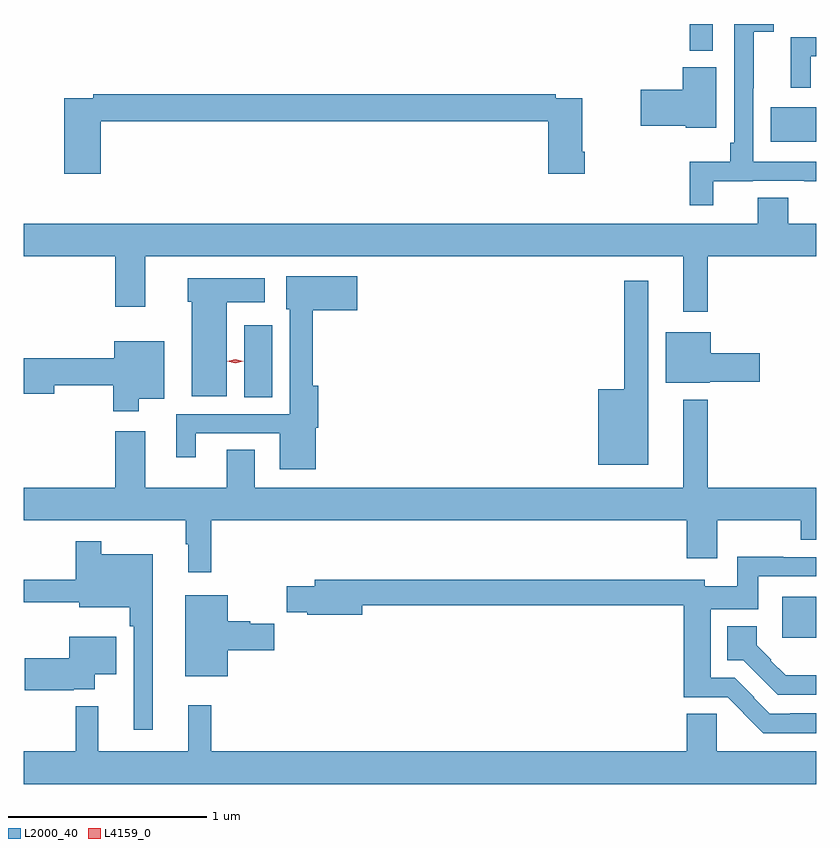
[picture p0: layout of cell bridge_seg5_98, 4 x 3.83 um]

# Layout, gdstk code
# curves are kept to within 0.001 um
import gdstk
lib = gdstk.Library(unit=1e-6, precision=1e-09)
def R(c, l, rs):  # rectangles x0, y0, x1, y1
    for r in rs: c.add(gdstk.rectangle(r[:2], r[2:], *l))
def P(c, l, *ps):  # polygons
    for p in ps: c.add(gdstk.Polygon(p, *l))
L2000_40 = (2000, 40)
L4159_0 = (4159, 0)

bridge_seg5_98 = lib.new_cell('bridge_seg5_98')
R(bridge_seg5_98, L2000_40, [(613.62,910.778,613.792,910.984), (610.904,911.992,611.047,912.355), (613.562,913.28,613.792,913.456), (613.153,913.741,613.269,913.875)])
P(bridge_seg5_98, L2000_40, [(613.272,913.082),(613.47,913.082),(613.47,913.083),(613.732,913.083),(613.732,913.082),(613.792,913.082),(613.792,913.179),(613.473,913.179),(613.473,913.552),(613.475,913.552),(613.475,913.836),(613.576,913.836),(613.576,913.875),(613.377,913.875),(613.377,913.276),(613.357,913.276),(613.357,913.18),(613.153,913.18),(613.153,912.96),(613.272,912.96)],
  [(613.764,913.713),(613.792,913.713),(613.792,913.809),(613.664,913.809),(613.664,913.554),(613.764,913.554)],
  [(613.288,913.656),(613.118,913.656),(613.118,913.544),(612.906,913.544),(612.906,913.361),(613.134,913.361),(613.134,913.352),(613.288,913.352)],
  [(610.181,913.384),(612.44,913.384),(612.44,913.119),(612.623,913.119),(612.623,913.231),(612.61,913.231),(612.61,913.5),(612.476,913.5),(612.476,913.52),(610.144,913.52),(610.144,913.5),(609.998,913.5),(609.998,913.119),(610.181,913.119)],
  [(613.243,912.704),(613.792,912.704),(613.792,912.868),(613.649,912.868),(613.649,912.998),(613.496,912.998),(613.496,912.868),(609.792,912.868),(609.792,912.704),(610.253,912.704),(610.253,912.447),(610.405,912.447),(610.405,912.704),(613.121,912.704),(613.121,912.423),(613.243,912.423)],
  [(611.266,911.838),(611.279,911.838),(611.279,912.049),(611.252,912.049),(611.252,912.431),(611.476,912.431),(611.476,912.601),(611.117,912.601),(611.117,912.435),(611.136,912.435),(611.136,911.907),(610.562,911.907),(610.562,911.688),(610.66,911.688),(610.66,911.811),(611.084,911.811),(611.084,911.627),(611.266,911.627)],
  [(610.816,912.47),(611.008,912.47),(611.008,912.592),(610.619,912.592),(610.619,912.474),(610.64,912.474),(610.64,911.996),(610.816,911.996)],
  [(612.943,912.58),(612.822,912.58),(612.822,912.031),(612.692,912.031),(612.692,911.651),(612.943,911.651)],
  [(613.254,912.071),(613.507,912.071),(613.507,912.213),(613.258,912.213),(613.258,912.319),(613.031,912.319),(613.031,912.065),(613.254,912.065)],
  [(610.372,911.984),(610.501,911.984),(610.501,912.274),(610.25,912.274),(610.25,912.188),(609.792,912.188),(609.792,912.01),(609.946,912.01),(609.946,912.052),(610.243,912.052),(610.243,911.922),(610.372,911.922)],
  [(610.739,911.372),(613.139,911.372),(613.139,911.178),(613.291,911.178),(613.291,911.372),(613.714,911.372),(613.714,911.273),(613.792,911.273),(613.792,911.536),(613.243,911.536),(613.243,911.98),(613.121,911.98),(613.121,911.536),(610.957,911.536),(610.957,911.726),(610.817,911.726),(610.817,911.536),(610.405,911.536),(610.405,911.821),(610.253,911.821),(610.253,911.536),(609.792,911.536),(609.792,911.372),(610.611,911.372),(610.611,911.249),(610.622,911.249),(610.622,911.109),(610.739,911.109)],
  [(610.444,911.2),(610.183,911.2),(610.183,911.266),(610.054,911.266),(610.054,911.071),(609.792,911.071),(609.792,910.957),(610.073,910.957),(610.073,910.931),(610.327,910.931),(610.327,910.835),(610.347,910.835),(610.347,910.314),(610.444,910.314)],
  [(613.792,910.396),(613.557,910.395),(613.476,910.476),(613.478,910.478),(613.381,910.575),(613.258,910.575),(613.258,910.922),(613.498,910.922),(613.498,911.088),(613.792,911.088),(613.792,911.184),(613.625,911.184),(613.625,911.186),(613.394,911.186),(613.394,911.038),(613.23,911.038),(613.23,911.071),(611.261,911.071),(611.261,911.037),(611.119,911.037),(611.119,910.907),(611.224,910.907),(611.224,910.895),(611.5,910.895),(611.5,910.942),(613.124,910.942),(613.124,910.479),(613.344,910.479),(613.425,910.398),(613.423,910.396),(613.524,910.295),(613.792,910.295)],
  [(610.822,910.715),(611.057,910.715),(611.057,910.849),(610.935,910.849),(610.935,910.862),(610.822,910.862),(610.822,910.993),(610.607,910.993),(610.607,910.583),(610.822,910.583)],
  [(613.792,910.589),(613.637,910.589),(613.562,910.663),(613.565,910.666),(613.492,910.739),(613.492,910.837),(613.343,910.837),(613.343,910.664),(613.423,910.664),(613.598,910.491),(613.792,910.491)],
  [(610.046,910.517),(610.15,910.517),(610.15,910.595),(610.258,910.595),(610.258,910.783),(610.022,910.783),(610.022,910.675),(609.798,910.675),(609.798,910.512),(610.046,910.512)],
  [(613.792,910.204),(613.29,910.204),(613.29,910.394),(613.139,910.394),(613.139,910.204),(610.739,910.204),(610.739,910.438),(610.622,910.438),(610.622,910.204),(610.169,910.204),(610.169,910.432),(610.056,910.432),(610.056,910.204),(609.792,910.204),(609.792,910.04),(613.792,910.04)])
P(bridge_seg5_98, L4159_0, [(610.861,912.164),(610.82,912.174),(610.82,912.174),(610.82,912.174),(610.861,912.184),(610.901,912.174),(610.901,912.174),(610.901,912.174)])

lib.write_gds('bridge_seg5_98.gds')
